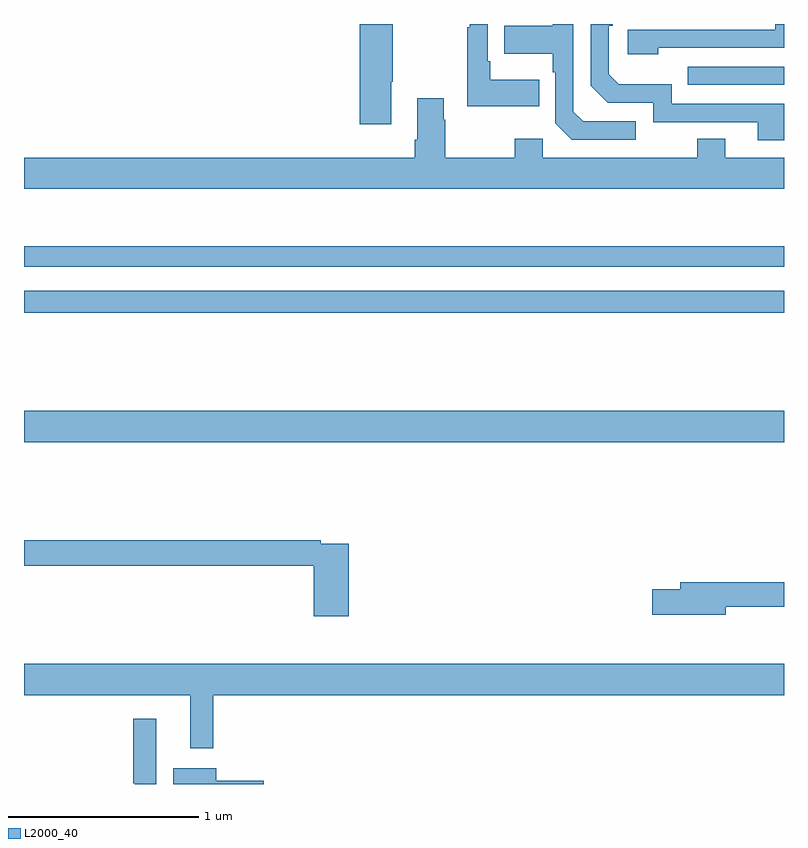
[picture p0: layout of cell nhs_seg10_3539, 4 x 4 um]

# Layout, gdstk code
import gdstk
lib = gdstk.Library(unit=1e-6, precision=1e-09)
def R(c, l, rs):  # rectangles x0, y0, x1, y1
    for r in rs: c.add(gdstk.rectangle(r[:2], r[2:], *l))
def P(c, l, *ps):  # polygons
    for p in ps: c.add(gdstk.Polygon(p, *l))
L2000_40 = (2000, 40)

nhs_seg10_3539 = lib.new_cell('nhs_seg10_3539')
R(nhs_seg10_3539, L2000_40, [(303,1316.3,307,1316.464), (303,1316.98,307,1317.096), (303,1317.222,307,1317.331), (306.493,1318.179,307,1318.275)])
P(nhs_seg10_3539, L2000_40, [(304.933,1318.195),(304.941,1318.195),(304.941,1318.5),(304.766,1318.5),(304.766,1317.972),(304.933,1317.972)],
  [(305.711,1318.207),(305.455,1318.207),(305.455,1318.303),(305.442,1318.303),(305.442,1318.5),(305.345,1318.5),(305.345,1318.483),(305.334,1318.483),(305.334,1318.067),(305.711,1318.067)],
  [(306.22,1317.987),(305.943,1317.987),(305.892,1318.038),(305.892,1318.5),(305.784,1318.5),(305.784,1318.491),(305.527,1318.491),(305.527,1318.343),(305.784,1318.343),(305.784,1318.247),(305.796,1318.247),(305.796,1317.978),(305.883,1317.891),(306.22,1317.891)],
  [(307,1318.08),(306.408,1318.08),(306.408,1318.183),(306.131,1318.183),(306.078,1318.236),(306.078,1318.49),(306.098,1318.49),(306.098,1318.5),(305.982,1318.5),(305.982,1318.176),(306.072,1318.086),(306.312,1318.086),(306.312,1317.984),(306.863,1317.984),(306.863,1317.888),(307,1317.888)],
  [(306.338,1318.374),(307,1318.374),(307,1318.5),(306.953,1318.5),(306.953,1318.47),(306.177,1318.47),(306.177,1318.34),(306.338,1318.34)],
  [(307,1317.796),(306.691,1317.796),(306.691,1317.895),(306.544,1317.895),(306.544,1317.796),(305.73,1317.796),(305.73,1317.895),(305.584,1317.895),(305.584,1317.796),(305.217,1317.796),(305.217,1317.995),(305.209,1317.995),(305.209,1318.108),(305.069,1318.108),(305.069,1317.892),(305.057,1317.892),(305.057,1317.796),(303,1317.796),(303,1317.632),(307,1317.632)],
  [(304.709,1315.764),(304.562,1315.764),(304.562,1315.784),(303,1315.784),(303,1315.648),(304.526,1315.648),(304.526,1315.383),(304.709,1315.383)],
  [(306.694,1315.434),(307,1315.434),(307,1315.562),(306.455,1315.562),(306.455,1315.526),(306.306,1315.526),(306.306,1315.391),(306.694,1315.391)],
  [(303.997,1314.968),(307,1314.968),(307,1315.132),(303,1315.132),(303,1314.968),(303.875,1314.968),(303.875,1314.687),(303.997,1314.687)],
  [(303.697,1314.844),(303.576,1314.844),(303.576,1314.503),(303.583,1314.503),(303.583,1314.5),(303.697,1314.5)],
  [(304.261,1314.516),(304.012,1314.516),(304.012,1314.583),(303.785,1314.583),(303.785,1314.5),(304.261,1314.5)])

lib.write_gds('nhs_seg10_3539.gds')
